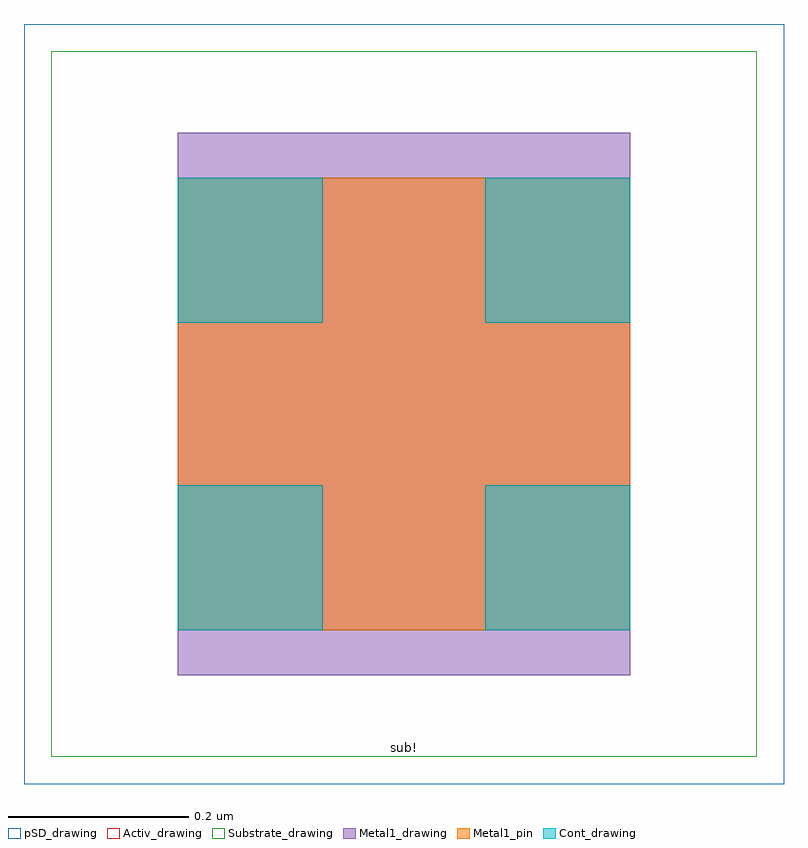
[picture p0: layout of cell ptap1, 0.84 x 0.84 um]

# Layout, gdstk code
import gdstk
lib = gdstk.Library(unit=1e-6, precision=1e-09)
def R(c, l, rs):  # rectangles x0, y0, x1, y1
    for r in rs: c.add(gdstk.rectangle(r[:2], r[2:], *l))
Activ_drawing = (1, 0)
Cont_drawing = (6, 0)
Metal1_drawing = (8, 0)
Metal1_pin = (8, 2)
pSD_drawing = (14, 0)
Substrate_drawing = (40, 0)

ptap1 = lib.new_cell('ptap1')
R(ptap1, Activ_drawing, [(0,0,0.78,0.78)])
R(ptap1, Cont_drawing, [(0.14,0.14,0.3,0.3), (0.48,0.14,0.64,0.3), (0.14,0.48,0.3,0.64), (0.48,0.48,0.64,0.64)])
R(ptap1, Metal1_drawing, [(0.14,0.09,0.64,0.69)])
R(ptap1, Metal1_pin, [(0.14,0.14,0.64,0.64)])
R(ptap1, pSD_drawing, [(-0.03,-0.03,0.81,0.81)])
R(ptap1, Substrate_drawing, [(0,0,0.78,0.78)])
ptap1.add(gdstk.Label('sub!', (0.39,0.01), layer=63, texttype=0))

lib.write_gds('ptap1.gds')
